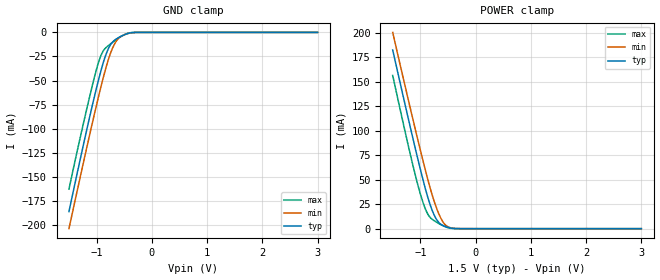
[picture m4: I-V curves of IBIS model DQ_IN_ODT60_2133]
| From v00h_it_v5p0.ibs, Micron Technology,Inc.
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| MODEL DQ_IN_ODT60_2133 (Data Input with 60ohm ODT, 1866/2133Mbps)
[Model]   DQ_IN_ODT60_2133
Model_type   Input
Vinl = 615.000mV
Vinh = 885.000mV
|   typ   min   max
|C_comp   1.053pF   0.965pF   1.152pF
C_comp_power_clamp   0.5265pF   0.4825pF   0.5760pF
C_comp_gnd_clamp   0.5265pF   0.4825pF   0.5760pF
| Note: C_comp changes when the ODT circuit is enabled.
[Model Spec]
| Input threshold voltage corners
Vinl   0.6150V   0.5775V   0.6525V
Vinh   0.8850V   0.8475V   0.9225V
| Dynamic Overshoot Parameters from DDR3 Specification
D_overshoot_ampl_h   0.40   NA   NA
D_overshoot_ampl_l   0.40   NA   NA
D_overshoot_area_h   0.10n   NA   NA
D_overshoot_area_l   0.10n   NA   NA
[Receiver Thresholds]
Vth   =  0.750V
Vth_min  =  0.7350V
Vth_max  =  0.7650V
Vinh_ac  =  0.135V
Vinh_dc  =  0.100V
Vinl_ac  = -0.135V
Vinl_dc  = -0.100V
Tslew_ac =  5.000ns |Not specified, so set to high value
Threshold_sensitivity = 0.50
Reference_supply Power_clamp_ref
[Voltage Range]   1.5000V   1.4250V   1.5750V
[POWER Clamp Reference]   1.5000V   1.4250V   1.5750V
| Junction Temperature (Ambient temp is 35C typ, 95C min, -40C max)
[Temperature Range]   50.0   110.0   -40.0
[Add Submodel]
| Submodel Name   Mode
60ohm_ODT_2133   Non-Driving
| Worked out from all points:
|   GND clamp passes 1 mA (typ) near -0.42 V on its own axis
|   POWER clamp passes 1 mA (typ) near -0.48 V on its own axis
[GND Clamp]
|   Voltage   I(typ)   I(min)   I(max)
-1.5V     -186.2mA   -204mA     -162.9mA
-1.33V    -140.9mA   -159.2mA   -118mA
-1.165V   -97.95mA   -116.5mA   -76.4mA
-1.025V   -63.32mA   -81.41mA   -43.46mA
-950mV    -46.1mA    -63.34mA   -28.56mA
-875mV    -30.7mA    -46.21mA   -18.9mA
-775mV    -15.59mA   -26.18mA   -13.16mA
-675mV    -8.152mA   -12.06mA   -8.781mA
-580mV    -4.745mA   -5.106mA   -5.032mA
-455mV    -1.57mA    -1.548mA   -1.307mA
-335mV    -184.8uA   -234.8uA   -67.28uA
3V        0A         0A         0A
[POWER Clamp]
|   Voltage   I(typ)   I(min)   I(max)
-1.5V     182.5mA    200.6mA    156.6mA
-1.13V    91.24mA    110.7mA    63.67mA
-1.025V   66.5mA     86.09mA    40.54mA
-940mV    47.43mA    66.71mA    24.81mA
-845mV    28.37mA    46.17mA    13.09mA
-735mV    12.3mA     25.52mA    7.634mA
-680mV    7.269mA    17.16mA    5.727mA
-625mV    4.412mA    10.26mA    3.983mA
-535mV    1.985mA    3.233mA    1.641mA
-450mV    674.6uA    919uA      371.5uA
-275mV    15.24uA    34.57uA    597.6nA
3V        0A         0A         0A
